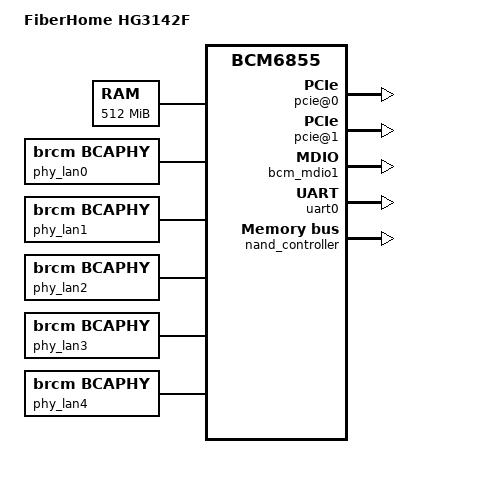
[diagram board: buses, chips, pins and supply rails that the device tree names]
// SPDX-License-Identifier: GPL-2.0-or-later
/*
 * FiberHome HG3142F (Broadcom BCM6855x / bcm96855)
 *
 * 依据实机全量备份（SN 071604000590814）还原：
 *   - SoC: 3 x Cortex-A7, 512MiB DDR
 *   - NAND: 256MiB, brcmnand, 128KiB 擦除块
 *   - 分区表见下方 partitions（与 /proc/mtd 实测一致）
 *
 * 注意：上游 bcm6855.dtsi 里的 NAND 节点标签是 nand_controller / nandcs，
 *      没有 &nand；uart0 默认 disabled，必须显式打开才有控制台。
 */

/dts-v1/;

#include "broadcom/bcm6855.dtsi"

/ {
	model = "FiberHome HG3142F";
	compatible = "fiberhome,mb4784w", "brcm,bcm96855", "brcm,bcm6855", "brcm,bcmbca";

	aliases {
		serial0 = &uart0;
	};

	chosen {
		stdout-path = "serial0:115200n8";
		/* 原厂实测控制台就是 ttyAMA0（PL011），不是 ttyS0 */
		/* 前半段与厂商一致；root=/dev/ubiblock0_4 等由 U-Boot 按 img_index 追加 */
		bootargs = "coherent_pool=2M cpuidle_sysfs_switch console=ttyAMA0,115200 earlycon rootwait pci=pcie_bus_safe";
	};

	/* 512 MiB（原厂 U-Boot 打印 "DRAM: 512 MiB"） */
	memory@0 {
		device_type = "memory";
		reg = <0x00000000 0x20000000>;
	};

	/*
	 * PCIe 主机控制器（2 个）
	 * 数据取自实机原厂设备树 orig_968552CREF_CM_XG.dts：
	 *   pcie@0 → domain 1，GIC SPI 43，窗口 0xc0000000（BCM6710 WiFi）
	 *   pcie@1 → domain 2，GIC SPI 44，窗口 0xd0000000（RTL8125 2.5G 网卡）
	 */
	pcie@0 {
		compatible = "brcm,bcm963xx-pcie";
		device_type = "pci";
		reg = <0x80040000 0xa000>;

		#address-cells = <3>;
		#size-cells = <2>;
		ranges = <0x2000000 0x0 0xc0000000 0xc0000000 0x0 0x10000000>;

		interrupt-names = "intr";
		interrupts = <0 43 4>;
		#interrupt-cells = <1>;
		interrupt-map = <0 0 0 0 0x1 0 43 4>;

		brcm,coreid = <0>;
		brcm,apon;	/* 无链路也保持 PCIe 核心供电 */
		linux,pci-domain = <1>;
		status = "okay";
	};

	pcie@1 {
		compatible = "brcm,bcm963xx-pcie";
		device_type = "pci";
		reg = <0x80050000 0xa000>;

		#address-cells = <3>;
		#size-cells = <2>;
		ranges = <0x2000000 0x0 0xd0000000 0xd0000000 0x0 0x10000000>;

		interrupt-names = "intr";
		interrupts = <0 44 4>;
		#interrupt-cells = <1>;
		interrupt-map = <0 0 0 0 0x1 0 44 4>;

		brcm,coreid = <1>;
		brcm,apon;	/* 无链路也保持 PCIe 核心供电 */
		linux,pci-domain = <2>;
		status = "okay";
	};

	/*
	 * bcm_enet：unimac + Runner 交换芯片
	 *
	 * 数据来自实机原厂 DTS（orig_968552CREF_CM_XG.dts）。节点名加 bcm_
	 * 前缀，避免和上游 bcm6855.dtsi 重名；驱动全部按 compatible 查找，
	 * 不依赖节点名。
	 *
	 * switch0 是 dt_parsing.c 的入口：has_dt() 只有在能找到
	 * compatible="brcm,enet" 且至少一个子节点有可用端口时才返回 1。
	 * 没有它，bcm_enet_init() 会走 BP 老路径并因为 root_sw==NULL 崩溃。
	 */
	bcm_unimac: unimac3 {
		compatible = "brcm,unimac3";
		reg = <0x828a8000 0x6000>, <0x828b0000 0x1800>;
		conf_offset = <0x1000>;
		mib_offset = <0x400>;
		top_offset = <0x400>;
	};

	bcm_egphy: egphy {
		compatible = "brcm,egphy";
		reg = <0x828ba204 0xc>;
	};

	bcm_sgmii: sgmii {
		compatible = "brcm,sgmii";
		reg = <0x828ba280 0x14>;
	};

	/* 实机是 brcm,mdio1（0xff802060）；bcm_enet 的 MDIO_V1 总线 */
	bcm_mdio1: mdio1 {
		compatible = "brcm,mdio1";
		reg = <0xff802060 0x10>;
	};

	bcm_mdio: mdio {
		compatible = "simple-bus";
		bus-type = "MDIO_V1";
		#address-cells = <1>;
		#size-cells = <0>;

		/* 4 个 LAN GPHY（原厂 EGPHY，MDIO 地址 1..4） */
		phy_lan0: ethernet-phy@1 {
			compatible = "brcm,bcaphy";
			phy-type = "EGPHY";
			reg = <1>;
			status = "okay";
		};

		phy_lan1: ethernet-phy@2 {
			compatible = "brcm,bcaphy";
			phy-type = "EGPHY";
			reg = <2>;
			status = "okay";
		};

		phy_lan2: ethernet-phy@3 {
			compatible = "brcm,bcaphy";
			phy-type = "EGPHY";
			reg = <3>;
			status = "okay";
		};

		phy_lan3: ethernet-phy@4 {
			compatible = "brcm,bcaphy";
			phy-type = "EGPHY";
			reg = <4>;
			status = "okay";
		};

		/* lan4 走 SGMII（MDIO 地址 6） */
		phy_lan4: ethernet-phy@6 {
			compatible = "brcm,bcaphy";
			phy-type = "SGMII";
			reg = <6>;
			status = "okay";
		};
	};

	switch0 {
		compatible = "brcm,enet";
		label = "bcmsw";
		sw-type = "RUNNER_SW";

		ports {
			#address-cells = <1>;
			#size-cells = <0>;

			port@0 {
				reg = <0>;
				mac-type = "UNIMAC";
				phy-handle = <&phy_lan0>;
				phy-mode = "gmii";
				label = "lan0";
				status = "okay";
			};

			port@1 {
				reg = <1>;
				mac-type = "UNIMAC";
				phy-handle = <&phy_lan1>;
				phy-mode = "gmii";
				label = "lan1";
				status = "okay";
			};

			port@2 {
				reg = <2>;
				mac-type = "UNIMAC";
				phy-handle = <&phy_lan2>;
				phy-mode = "gmii";
				label = "lan2";
				status = "okay";
			};

			port@3 {
				reg = <3>;
				mac-type = "UNIMAC";
				phy-handle = <&phy_lan3>;
				phy-mode = "gmii";
				label = "lan3";
				status = "okay";
			};

			port@5 {
				reg = <5>;
				mac-type = "UNIMAC";
				phy-handle = <&phy_lan4>;
				phy-mode = "hsgmii";
				label = "lan4";
				status = "okay";
			};

			/*
			 * reg 6 = PON/XFI WAN。首轮 probe 先关掉：PON PHY 驱动
			 * （phy_drv_pon）要到 init_post 才注册，而端口解析发生在
			 * init_post 之前，找不到 PHY 会让整次 probe 提前失败。
			 * 等 LAN 路径跑通再单独打开。
			 */
			port@6 {
				reg = <6>;
				phy-mode = "xfi";
				detect;
				is-wan;
				label = "wan0";
				status = "disabled";
			};
		};
	};
};

/* 串口：上游默认 disabled */
&uart0 {
	status = "okay";
};

/* NAND 控制器：上游默认 disabled */
&nand_controller {
	brcm,wp-not-connected;
	status = "okay";
};

/* NAND 片选：分区挂在这里 */
&nandcs {
	nand-on-flash-bbt;
	brcm,nand-ecc-use-strap;

	partitions {
			compatible = "fixed-partitions";
			#address-cells = <1>;
			#size-cells = <1>;

			/* 厂商 loader（SPL+TPL+U-Boot 2019.07），只读，勿写 */
			loader@0 {
				label = "loader";
				reg = <0x00000000 0x00200000>;
				read-only;
			};

			/* 主镜像区：原厂为 UBI（bootfs1/rootfs1/bootfs2/rootfs2/felix1/felix2） */
			image@200000 {
				label = "image";
				reg = <0x00200000 0x0a400000>;
			};

			/* 厂商 IPG 区，本固件不使用 */
			ipg@a600000 {
				label = "ipg";
				reg = <0x0a600000 0x05700000>;
				read-only;
			};

			/* 出厂数据：光学校准、SN、MAC 等 */
			factory@fd00000 {
				label = "factory";
				reg = <0x0fd00000 0x00200000>;
				read-only;
			};
		};
};
